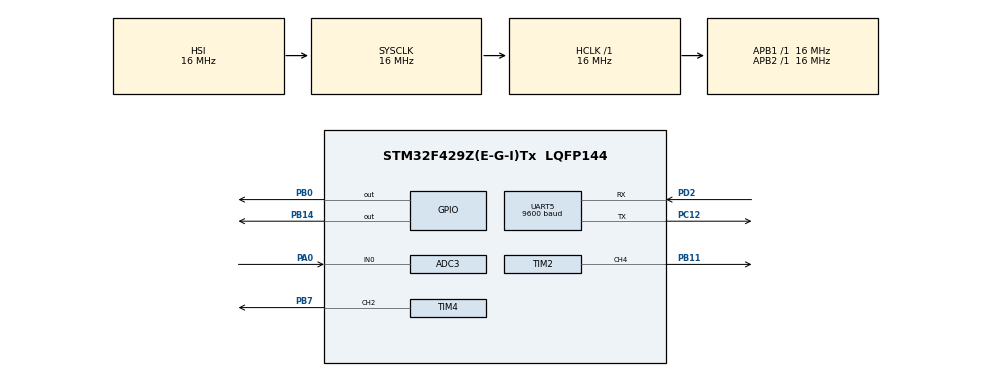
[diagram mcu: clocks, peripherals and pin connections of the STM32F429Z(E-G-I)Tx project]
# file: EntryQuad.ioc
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ADC3.Channel-0\#ChannelRegularConversion=ADC_CHANNEL_0
ADC3.NbrOfConversionFlag=1
ADC3.Rank-0\#ChannelRegularConversion=1
ADC3.SamplingTime-0\#ChannelRegularConversion=ADC_SAMPLETIME_3CYCLES
FREERTOS.Queues01=myQueue01,16,4,NULL;myQueue02,32,2,NULL
FREERTOS.Tasks01=defaultTask,0,128,StartDefaultTask,Default,NULL,Dynamic,NULL,NULL;Task01,2,128,StartTask01,Default,NULL,Dynamic,NULL,NULL;Task02,-2,256,StartTask02,Default,NULL,Dynamic,NULL,NULL
FREERTOS.Timers01=Timer01,Callback01,osTimerPeriodic,Default,NULL,Dynamic,NULL
FREERTOS.configUSE_TIMERS=1
Mcu.Family=STM32F4
Mcu.Name=STM32F429Z(E-G-I)Tx
Mcu.Package=LQFP144
NVIC.PriorityGroup=NVIC_PRIORITYGROUP_4
NVIC.TIM1_UP_TIM10_IRQn=true\:0\:0\:false\:false\:true\:false
NVIC.TimeBase=TIM1_UP_TIM10_IRQn
NVIC.TimeBaseIP=TIM1
PA0/WKUP.Signal=ADCx_IN0
PB0.Signal=GPIO_Output
PB11.Signal=S_TIM2_CH4
PB14.Signal=GPIO_Output
PB7.Signal=S_TIM4_CH2
PC12.Mode=Asynchronous
PC12.Signal=UART5_TX
PD2.Mode=Asynchronous
PD2.Signal=UART5_RX
ProjectManager.HeapSize=0x200
ProjectManager.StackSize=0x400
ProjectManager.TargetToolchain=SW4STM32
RCC.AHBFreq_Value=16000000
RCC.APB1Freq_Value=16000000
RCC.APB2Freq_Value=16000000
RCC.CortexFreq_Value=16000000
RCC.HSE_VALUE=25000000
RCC.HSI_VALUE=16000000
RCC.LSE_VALUE=32768
RCC.SYSCLKFreq_VALUE=16000000
RCC.VCOOutputFreq_Value=192000000
SH.ADCx_IN0.0=ADC3_IN0,IN0
SH.S_TIM2_CH4.0=TIM2_CH4,PWM Generation4 CH4
SH.S_TIM4_CH2.0=TIM4_CH2,PWM Generation2 CH2
TIM2.Channel-PWM\ Generation4\ CH4=TIM_CHANNEL_4
TIM4.Channel-PWM\ Generation2\ CH2=TIM_CHANNEL_2
TIM4.Period=200
TIM4.Prescaler=24
UART5.BaudRate=9600
UART5.VirtualMode=Asynchronous
VP_FREERTOS_VS_ENABLE.Mode=Enabled
VP_SYS_VS_tim1.Mode=TIM1
board=EntryQuad

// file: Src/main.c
/**
  ******************************************************************************
  * File Name          : main.c
  * Description        : Main program body
  ******************************************************************************
  * This notice applies to any and all portions of this file
  * that are not between comment pairs USER CODE BEGIN and
  * USER CODE END. Other portions of this file, whether
  * inserted by the user or by software development tools
  * are owned by their respective copyright owners.
  *
  * Copyright (c) 2017 STMicroelectronics International N.V.
  * All rights reserved.
  *
  * Redistribution and use in source and binary forms, with or without
  * modification, are permitted, provided that the following conditions are met:
  *
  * 1. Redistribution of source code must retain the above copyright notice,
  *    this list of conditions and the following disclaimer.
  * 2. Redistributions in binary form must reproduce the above copyright notice,
  *    this list of conditions and the following disclaimer in the documentation
  *    and/or other materials provided with the distribution.
  * 3. Neither the name of STMicroelectronics nor the names of other
  *    contributors to this software may be used to endorse or promote products
  *    derived from this software without specific written permission.
  * 4. This software, including modifications and/or derivative works of this
  *    software, must execute solely and exclusively on microcontroller or
  *    microprocessor devices manufactured by or for STMicroelectronics.
  * 5. Redistribution and use of this software other than as permitted under
  *    this license is void and will automatically terminate your rights under
  *    this license.
  *
  * THIS SOFTWARE IS PROVIDED BY STMICROELECTRONICS AND CONTRIBUTORS "AS IS"
  * AND ANY EXPRESS, IMPLIED OR STATUTORY WARRANTIES, INCLUDING, BUT NOT
  * LIMITED TO, THE IMPLIED WARRANTIES OF MERCHANTABILITY, FITNESS FOR A
  * PARTICULAR PURPOSE AND NON-INFRINGEMENT OF THIRD PARTY INTELLECTUAL PROPERTY
  * RIGHTS ARE DISCLAIMED TO THE FULLEST EXTENT PERMITTED BY LAW. IN NO EVENT
  * SHALL STMICROELECTRONICS OR CONTRIBUTORS BE LIABLE FOR ANY DIRECT, INDIRECT,
  * INCIDENTAL, SPECIAL, EXEMPLARY, OR CONSEQUENTIAL DAMAGES (INCLUDING, BUT NOT
  * LIMITED TO, PROCUREMENT OF SUBSTITUTE GOODS OR SERVICES; LOSS OF USE, DATA,
  * OR PROFITS; OR BUSINESS INTERRUPTION) HOWEVER CAUSED AND ON ANY THEORY OF
  * LIABILITY, WHETHER IN CONTRACT, STRICT LIABILITY, OR TORT (INCLUDING
  * NEGLIGENCE OR OTHERWISE) ARISING IN ANY WAY OUT OF THE USE OF THIS SOFTWARE,
  * EVEN IF ADVISED OF THE POSSIBILITY OF SUCH DAMAGE.
  *
  ******************************************************************************
  */
#include "main.h"
#include "stm32f429xx.h"
#include "stm32f4xx_hal.h"
#include "cmsis_os.h"
#include "Quad.h"
#include "adaptation.h"
#include "stdlib.h"
#include "math.h"

//#define ARM_MATH_CM4
typedef float float32_t;

ADC_HandleTypeDef hadc3;

TIM_HandleTypeDef htim2;
TIM_HandleTypeDef htim4;

UART_HandleTypeDef huart5;

osThreadId defaultTaskHandle;
osThreadId Task01Handle;
osThreadId Task02Handle;
osMessageQId myQueue01Handle;
osMessageQId myQueue02Handle;
osTimerId Timer01Handle;

/* USER CODE BEGIN PV */
/* Private variables ---------------------------------------------------------*/
/* UART handler declaration */
UART_HandleTypeDef huart5;

/* USER CODE END PV */

void SystemClock_Config(void);
static void MX_GPIO_Init(void);
static void MX_TIM4_Init(void);
static void MX_UART5_Init(void);
static void MX_TIM2_Init(void);
static void MX_ADC3_Init(void);
void StartDefaultTask(void const * argument);
void StartTask01(void const * argument);
void StartTask02(void const * argument);
void Callback01(void const * argument);

void HAL_TIM_MspPostInit(TIM_HandleTypeDef *htim);

/* USER CODE BEGIN PFP */
/* Private function prototypes -----------------------------------------------*/

/* USER CODE END PFP */

int main(void)
{

  /* MCU Configuration----------------------------------------------------------*/

  /* Reset of all peripherals, Initializes the Flash interface and the Systick. */
  HAL_Init();

  /* Configure the system clock */
  SystemClock_Config();

  /* Initialize all configured peripherals */
  MX_GPIO_Init();
  MX_TIM4_Init();
  MX_UART5_Init();
  MX_TIM2_Init();
  MX_ADC3_Init();

  /* Create the timer(s) */
  /* definition and creation of Timer01 */
  osTimerDef(Timer01, Callback01);
  Timer01Handle = osTimerCreate(osTimer(Timer01), osTimerPeriodic, NULL);

  /* Create the thread(s) */
  /* definition and creation of defaultTask */
  osThreadDef(defaultTask, StartDefaultTask, osPriorityNormal, 0, 128);
  defaultTaskHandle = osThreadCreate(osThread(defaultTask), NULL);

  /* definition and creation of Task01 */
  osThreadDef(Task01, StartTask01, osPriorityHigh, 0, 128);
  Task01Handle = osThreadCreate(osThread(Task01), NULL);

  /* definition and creation of Task02 */
  osThreadDef(Task02, StartTask02, osPriorityLow, 0, 256);
  Task02Handle = osThreadCreate(osThread(Task02), NULL);

  /* Create the queue(s) */
  /* definition and creation of myQueue01 */
  osMessageQDef(myQueue01, 16, 4);
  myQueue01Handle = osMessageCreate(osMessageQ(myQueue01), NULL);

  /* definition and creation of myQueue02 */
  osMessageQDef(myQueue02, 32, 2);
  myQueue02Handle = osMessageCreate(osMessageQ(myQueue02), NULL);

  /* Start scheduler */
  osKernelStart();

  /* We should never get here as control is now taken by the scheduler */

  /* Infinite loop */
  while (1)
  {

  }

}

/** System Clock Configuration
*/
void SystemClock_Config(void)
{

  RCC_OscInitTypeDef RCC_OscInitStruct;
  RCC_ClkInitTypeDef RCC_ClkInitStruct;

    /**Configure the main internal regulator output voltage
    */
  __HAL_RCC_PWR_CLK_ENABLE();

  __HAL_PWR_VOLTAGESCALING_CONFIG(PWR_REGULATOR_VOLTAGE_SCALE3);

    /**Initializes the CPU, AHB and APB busses clocks
    */
  RCC_OscInitStruct.OscillatorType = RCC_OSCILLATORTYPE_HSI;
  RCC_OscInitStruct.HSIState = RCC_HSI_ON;
  RCC_OscInitStruct.HSICalibrationValue = 16;
  RCC_OscInitStruct.PLL.PLLState = RCC_PLL_NONE;
  if (HAL_RCC_OscConfig(&RCC_OscInitStruct) != HAL_OK)
  {
    _Error_Handler(__FILE__, __LINE__);
  }

    /**Initializes the CPU, AHB and APB busses clocks
    */
  RCC_ClkInitStruct.ClockType = RCC_CLOCKTYPE_HCLK|RCC_CLOCKTYPE_SYSCLK
                              |RCC_CLOCKTYPE_PCLK1|RCC_CLOCKTYPE_PCLK2;
  RCC_ClkInitStruct.SYSCLKSource = RCC_SYSCLKSOURCE_HSI;
  RCC_ClkInitStruct.AHBCLKDivider = RCC_SYSCLK_DIV1;
  RCC_ClkInitStruct.APB1CLKDivider = RCC_HCLK_DIV1;
  RCC_ClkInitStruct.APB2CLKDivider = RCC_HCLK_DIV1;

  if (HAL_RCC_ClockConfig(&RCC_ClkInitStruct, FLASH_LATENCY_0) != HAL_OK)
  {
    _Error_Handler(__FILE__, __LINE__);
  }

    /**Configure the Systick interrupt time
    */
  HAL_SYSTICK_Config(HAL_RCC_GetHCLKFreq()/1000);

    /**Configure the Systick
    */
  HAL_SYSTICK_CLKSourceConfig(SYSTICK_CLKSOURCE_HCLK);

  /* SysTick_IRQn interrupt configuration */
  HAL_NVIC_SetPriority(SysTick_IRQn, 15, 0);
}

/* ADC3 init function */
static void MX_ADC3_Init(void)
{

  ADC_ChannelConfTypeDef sConfig;

    /**Configure the global features of the ADC (Clock, Resolution, Data Alignment and number of conversion)
    */
  hadc3.Instance = ADC3;
  hadc3.Init.ClockPrescaler = ADC_CLOCK_SYNC_PCLK_DIV2;
  hadc3.Init.Resolution = ADC_RESOLUTION_12B;
  hadc3.Init.ScanConvMode = DISABLE;
  hadc3.Init.ContinuousConvMode = DISABLE;
  hadc3.Init.DiscontinuousConvMode = DISABLE;
  hadc3.Init.ExternalTrigConvEdge = ADC_EXTERNALTRIGCONVEDGE_NONE;
  hadc3.Init.ExternalTrigConv = ADC_SOFTWARE_START;
  hadc3.Init.DataAlign = ADC_DATAALIGN_RIGHT;
  hadc3.Init.NbrOfConversion = 1;
  hadc3.Init.DMAContinuousRequests = DISABLE;
  hadc3.Init.EOCSelection = ADC_EOC_SINGLE_CONV;
  if (HAL_ADC_Init(&hadc3) != HAL_OK)
  {
    _Error_Handler(__FILE__, __LINE__);
  }

    /**Configure for the selected ADC regular channel its corresponding rank in the sequencer and its sample time.
    */
  sConfig.Channel = ADC_CHANNEL_0;
  sConfig.Rank = 1;
  sConfig.SamplingTime = ADC_SAMPLETIME_3CYCLES;
  if (HAL_ADC_ConfigChannel(&hadc3, &sConfig) != HAL_OK)
  {
    _Error_Handler(__FILE__, __LINE__);
  }

}

/* TIM2 init function */
static void MX_TIM2_Init(void)
{

  TIM_MasterConfigTypeDef sMasterConfig;
  TIM_OC_InitTypeDef sConfigOC;

  htim2.Instance = TIM2;
  htim2.Init.Prescaler = 0;
  htim2.Init.CounterMode = TIM_COUNTERMODE_UP;
  htim2.Init.Period = 0;
  htim2.Init.ClockDivision = TIM_CLOCKDIVISION_DIV1;
  if (HAL_TIM_PWM_Init(&htim2) != HAL_OK)
  {
    _Error_Handler(__FILE__, __LINE__);
  }

  sMasterConfig.MasterOutputTrigger = TIM_TRGO_RESET;
  sMasterConfig.MasterSlaveMode = TIM_MASTERSLAVEMODE_DISABLE;
  if (HAL_TIMEx_MasterConfigSynchronization(&htim2, &sMasterConfig) != HAL_OK)
  {
    _Error_Handler(__FILE__, __LINE__);
  }

  sConfigOC.OCMode = TIM_OCMODE_PWM1;
  sConfigOC.Pulse = 0;
  sConfigOC.OCPolarity = TIM_OCPOLARITY_HIGH;
  sConfigOC.OCFastMode = TIM_OCFAST_DISABLE;
  if (HAL_TIM_PWM_ConfigChannel(&htim2, &sConfigOC, TIM_CHANNEL_4) != HAL_OK)
  {
    _Error_Handler(__FILE__, __LINE__);
  }

  HAL_TIM_MspPostInit(&htim2);

}

/* TIM4 init function */
static void MX_TIM4_Init(void)
{

  TIM_MasterConfigTypeDef sMasterConfig;
  TIM_OC_InitTypeDef sConfigOC;

  htim4.Instance = TIM4;
  htim4.Init.Prescaler = 24;
  htim4.Init.CounterMode = TIM_COUNTERMODE_UP;
  htim4.Init.Period = 200;
  htim4.Init.ClockDivision = TIM_CLOCKDIVISION_DIV1;
  if (HAL_TIM_PWM_Init(&htim4) != HAL_OK)
  {
    _Error_Handler(__FILE__, __LINE__);
  }

  sMasterConfig.MasterOutputTrigger = TIM_TRGO_RESET;
  sMasterConfig.MasterSlaveMode = TIM_MASTERSLAVEMODE_DISABLE;
  if (HAL_TIMEx_MasterConfigSynchronization(&htim4, &sMasterConfig) != HAL_OK)
  {
    _Error_Handler(__FILE__, __LINE__);
  }

  sConfigOC.OCMode = TIM_OCMODE_PWM1;
  sConfigOC.Pulse = 0;
  sConfigOC.OCPolarity = TIM_OCPOLARITY_HIGH;
  sConfigOC.OCFastMode = TIM_OCFAST_DISABLE;
  if (HAL_TIM_PWM_ConfigChannel(&htim4, &sConfigOC, TIM_CHANNEL_2) != HAL_OK)
  {
    _Error_Handler(__FILE__, __LINE__);
  }

  HAL_TIM_MspPostInit(&htim4);

}

/* UART5 init function */
static void MX_UART5_Init(void)
{

  huart5.Instance = UART5;
  huart5.Init.BaudRate = 19200;
  huart5.Init.WordLength = UART_WORDLENGTH_8B;
  huart5.Init.StopBits = UART_STOPBITS_1;
  huart5.Init.Parity = UART_PARITY_NONE;
  huart5.Init.Mode = UART_MODE_TX_RX;
  huart5.Init.HwFlowCtl = UART_HWCONTROL_NONE;
  huart5.Init.OverSampling = UART_OVERSAMPLING_16;
  if (HAL_UART_Init(&huart5) != HAL_OK)
  {
    _Error_Handler(__FILE__, __LINE__);
  }

}

/** Configure pins as
        * Analog
        * Input
        * Output
        * EVENT_OUT
        * EXTI
*/
static void MX_GPIO_Init(void)
{

  GPIO_InitTypeDef GPIO_InitStruct;

  /* GPIO Ports Clock Enable */
  __HAL_RCC_GPIOA_CLK_ENABLE();
  __HAL_RCC_GPIOB_CLK_ENABLE();
  __HAL_RCC_GPIOC_CLK_ENABLE();
  __HAL_RCC_GPIOD_CLK_ENABLE();

  /*Configure GPIO pin Output Level */
  HAL_GPIO_WritePin(GPIOB, GPIO_PIN_0|GPIO_PIN_14, GPIO_PIN_RESET);

  /*Configure GPIO pins : PB0 PB14 */
  GPIO_InitStruct.Pin = GPIO_PIN_0|GPIO_PIN_14;
  GPIO_InitStruct.Mode = GPIO_MODE_OUTPUT_PP;
  GPIO_InitStruct.Pull = GPIO_NOPULL;
  GPIO_InitStruct.Speed = GPIO_SPEED_FREQ_LOW;
  HAL_GPIO_Init(GPIOB, &GPIO_InitStruct);

}

/* StartDefaultTask function */
void StartDefaultTask(void const * argument)
{

  /* USER CODE BEGIN 5 */
	static unsigned int val2 = 0;
	TickType_t xLastWakeTime;
	const TickType_t xFrequency = 500;

	xLastWakeTime = xTaskGetTickCount();
  /* Infinite loop */
  for(;;)
  {
	  val2 = val2 ^1;
	  HAL_GPIO_WritePin(GPIOB, GPIO_PIN_14, val2);
	  vTaskDelayUntil( &xLastWakeTime, xFrequency );
  }
  /* USER CODE END 5 */
}

/* StartTask01 function */
void StartTask01(void const * argument)
{
  /* USER CODE BEGIN StartTask01 */
  /* Infinite loop */
	TickType_t xLastWakeTime;
	const TickType_t xFrequency = 500;

	// Initialise the xLastWakeTime variable with the current time.
	xLastWakeTime = xTaskGetTickCount();
  for(;;)
  {
	  user_pwm_setvalue(20U,htim4,TIM_CHANNEL_2);
	  // Wait for the next cycle.
	  vTaskDelayUntil( &xLastWakeTime, xFrequency );
  }
  /* USER CODE END StartTask01 */
}

/* StartTask02 function */
void StartTask02(void const * argument)
{
  /* USER CODE BEGIN StartTask02 */
	  /* Infinite loop */
		TickType_t xLastWakeTime;
		const TickType_t xFrequency = 100*portTICK_PERIOD_MS;
		char newL[2]="\r\n";
		char del[1]=",";
		int i;
		float32_t x_gr,s_x,c_x;

		// Initialise the xLastWakeTime variable with the current time.
		xLastWakeTime = xTaskGetTickCount();
	  for(;;)
	  {
		  // Wait for the next cycle.
		   vTaskDelayUntil( &xLastWakeTime, xFrequency );
		   // Quad_step();

			   //arm_sin_cos_f32(i,&s_x,&c_x);
		       HAL_UART_Transmit(&huart5, (uint8_t *)newL, 2, 0xFFFF);
			   UART_Transmit_Data(567543.87);
			   HAL_UART_Transmit(&huart5, (uint8_t *)del, 1, 0xFFFF);
			   UART_Transmit_Data(-678.5);
			   HAL_UART_Transmit(&huart5, (uint8_t *)del, 1, 0xFFFF);
			   UART_Transmit_Data(0);
			   HAL_UART_Transmit(&huart5, (uint8_t *)del, 1, 0xFFFF);
			   UART_Transmit_Data(897);
			   HAL_UART_Transmit(&huart5, (uint8_t *)del, 1, 0xFFFF);
			   UART_Transmit_Data(-897);
			   HAL_UART_Transmit(&huart5, (uint8_t *)del, 1, 0xFFFF);
			   UART_Transmit_Data(-0.67);
			   HAL_UART_Transmit(&huart5, (uint8_t *)del,1, 0xFFFF);
			   UART_Transmit_Data(0.97);
			   HAL_UART_Transmit(&huart5, (uint8_t *)del, 1, 0xFFFF);
			   UART_Transmit_Data(-78);

		   //user_pwm_setvalue(1000U,htim2,TIM_CHANNEL_4);
	  }
  /* USER CODE END StartTask02 */
}

/* Callback01 function */
void Callback01(void const * argument)
{
}

void HAL_TIM_PeriodElapsedCallback(TIM_HandleTypeDef *htim)
{
  if (htim->Instance == TIM1) {
    HAL_IncTick();
  }
}

void _Error_Handler(char * file, int line)
{
  while(1)
  {
  }
}

/************************ (C) COPYRIGHT STMicroelectronics *****END OF FILE****/
